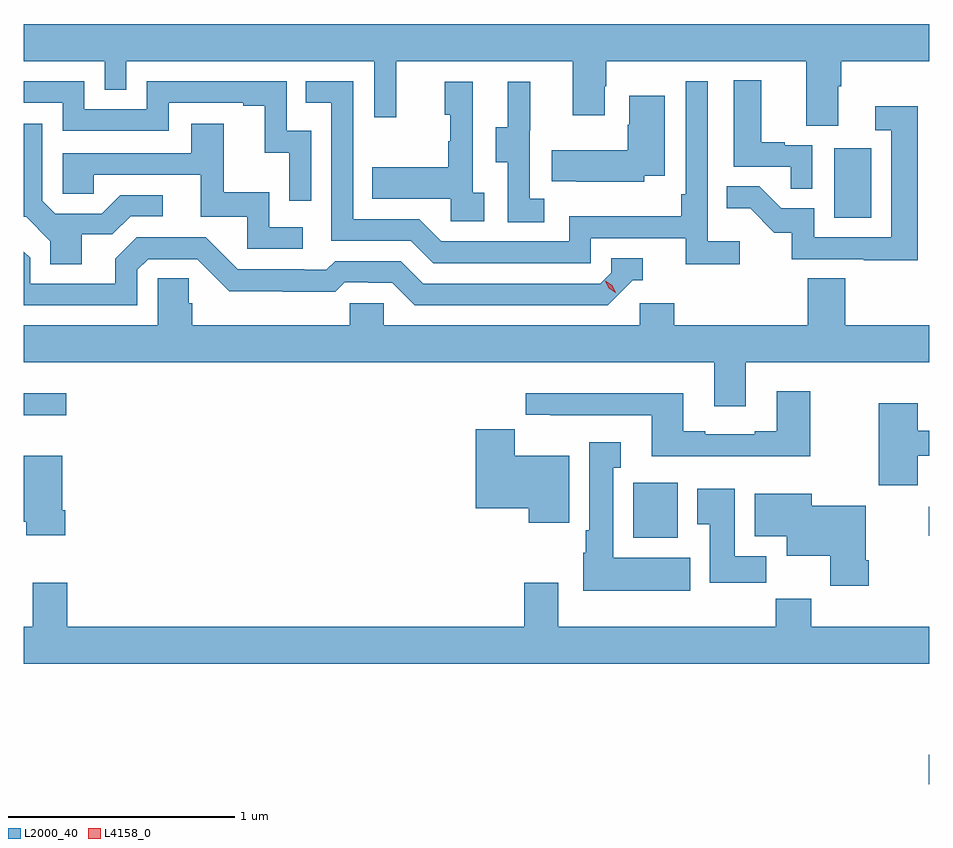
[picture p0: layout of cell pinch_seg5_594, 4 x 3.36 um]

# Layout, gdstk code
import gdstk
lib = gdstk.Library(unit=1e-6, precision=1e-09)
def R(c, l, rs):  # rectangles x0, y0, x1, y1
    for r in rs: c.add(gdstk.rectangle(r[:2], r[2:], *l))
def P(c, l, *ps):  # polygons
    for p in ps: c.add(gdstk.Polygon(p, *l))
L2000_40 = (2000, 40)
L4158_0 = (4158, 0)

pinch_seg5_594 = lib.new_cell('pinch_seg5_594')
R(pinch_seg5_594, L2000_40, [(1108.392,856.229,1108.393,856.359), (1107.086,857.318,1107.283,857.56), (1108.392,857.326,1108.393,857.455), (1104.393,857.859,1104.58,857.956), (1107.974,858.732,1108.138,859.039)])
P(pinch_seg5_594, L2000_40, [(1107.991,859.312),(1108.004,859.312),(1108.004,859.424),(1108.393,859.424),(1108.393,859.588),(1104.393,859.588),(1104.393,859.424),(1104.75,859.424),(1104.75,859.297),(1104.846,859.297),(1104.846,859.424),(1105.941,859.424),(1105.941,859.176),(1106.039,859.176),(1106.039,859.424),(1106.819,859.424),(1106.819,859.185),(1106.959,859.185),(1106.959,859.313),(1106.967,859.313),(1106.967,859.424),(1107.851,859.424),(1107.851,859.138),(1107.991,859.138)],
  [(1107.876,859.053),(1107.755,859.053),(1107.755,859.066),(1107.652,859.066),(1107.652,859.339),(1107.53,859.339),(1107.53,858.957),(1107.781,858.957),(1107.781,858.859),(1107.876,858.859)],
  [(1107.556,858.628),(1107.414,858.628),(1107.414,859.336),(1107.318,859.336),(1107.318,858.835),(1107.298,858.835),(1107.298,858.739),(1106.802,858.739),(1106.802,858.627),(1106.238,858.627),(1106.139,858.726),(1105.848,858.726),(1105.848,859.335),(1105.639,859.335),(1105.639,859.239),(1105.752,859.239),(1105.752,858.63),(1106.102,858.63),(1106.201,858.531),(1106.898,858.531),(1106.898,858.642),(1107.317,858.642),(1107.317,858.526),(1107.556,858.526)],
  [(1105.662,859.116),(1105.554,859.116),(1105.554,859.335),(1104.936,859.335),(1104.936,859.212),(1104.66,859.212),(1104.66,859.335),(1104.393,859.335),(1104.393,859.239),(1104.564,859.239),(1104.564,859.116),(1105.032,859.116),(1105.032,859.239),(1105.361,859.239),(1105.361,859.227),(1105.457,859.227),(1105.457,859.019),(1105.566,859.019),(1105.566,858.807),(1105.662,858.807)],
  [(1106.428,858.842),(1106.376,858.842),(1106.376,859.333),(1106.252,859.333),(1106.252,859.188),(1106.278,859.188),(1106.278,859.07),(1106.268,859.07),(1106.268,858.955),(1105.933,858.955),(1105.933,858.815),(1106.28,858.815),(1106.28,858.717),(1106.428,858.717)],
  [(1106.692,858.815),(1106.628,858.815),(1106.628,859.119),(1106.63,859.119),(1106.63,859.333),(1106.531,859.333),(1106.531,859.131),(1106.477,859.131),(1106.477,858.976),(1106.532,858.976),(1106.532,858.712),(1106.692,858.712)],
  [(1107.135,858.917),(1107.226,858.917),(1107.226,859.27),(1107.068,859.27),(1107.068,859.142),(1107.061,859.142),(1107.061,859.03),(1106.725,859.03),(1106.725,858.893),(1106.833,858.893),(1106.833,858.89),(1107.135,858.89)],
  [(1108.343,859.225),(1108.155,859.225),(1108.155,859.119),(1108.227,859.119),(1108.227,858.645),(1107.885,858.645),(1107.885,858.774),(1107.74,858.774),(1107.642,858.872),(1107.499,858.872),(1107.499,858.773),(1107.603,858.773),(1107.71,858.666),(1107.787,858.666),(1107.787,858.549),(1108.105,858.549),(1108.105,858.544),(1108.343,858.544)],
  [(1105.624,858.69),(1105.476,858.69),(1105.476,858.844),(1105.277,858.844),(1105.277,859.147),(1105.133,859.147),(1105.133,859.017),(1104.564,859.017),(1104.564,858.837),(1104.701,858.837),(1104.701,858.921),(1105.175,858.921),(1105.175,858.735),(1105.38,858.735),(1105.38,858.594),(1105.624,858.594)],
  [(1104.649,858.658),(1104.784,858.658),(1104.864,858.738),(1105.006,858.738),(1105.006,858.831),(1104.818,858.831),(1104.737,858.75),(1104.531,858.75),(1104.474,858.807),(1104.474,859.147),(1104.393,859.147),(1104.393,858.735),(1104.402,858.735),(1104.509,858.628),(1104.509,858.526),(1104.649,858.526)],
  [(1104.894,858.501),(1104.942,858.549),(1105.158,858.549),(1105.3,858.407),(1105.536,858.407),(1105.536,858.405),(1105.769,858.405),(1105.811,858.447),(1105.914,858.447),(1105.914,858.444),(1106.021,858.444),(1106.12,858.345),(1106.973,858.345),(1107.084,858.456),(1107.127,858.456),(1107.127,858.552),(1106.988,858.552),(1106.988,858.489),(1106.94,858.441),(1106.157,858.441),(1106.058,858.54),(1105.769,858.54),(1105.73,858.501),(1105.631,858.501),(1105.631,858.504),(1105.338,858.504),(1105.197,858.645),(1104.891,858.645),(1104.797,858.551),(1104.797,858.441),(1104.42,858.441),(1104.42,858.555),(1104.393,858.582),(1104.393,858.345),(1104.894,858.345)],
  [(1107.583,858.092),(1108.393,858.092),(1108.393,858.256),(1108.022,858.256),(1108.022,858.464),(1107.857,858.464),(1107.857,858.256),(1107.266,858.256),(1107.266,858.354),(1107.114,858.354),(1107.114,858.256),(1105.983,858.256),(1105.983,858.354),(1105.833,858.354),(1105.833,858.256),(1105.136,858.256),(1105.136,858.354),(1105.121,858.354),(1105.121,858.464),(1104.984,858.464),(1104.984,858.256),(1104.393,858.256),(1104.393,858.092),(1107.443,858.092),(1107.443,857.898),(1107.583,857.898)],
  [(1107.867,857.965),(1107.719,857.965),(1107.719,857.788),(1107.623,857.788),(1107.623,857.775),(1107.403,857.775),(1107.403,857.788),(1107.307,857.788),(1107.307,857.956),(1106.61,857.956),(1106.61,857.861),(1106.719,857.861),(1106.719,857.859),(1107.167,857.859),(1107.167,857.678),(1107.867,857.678)],
  [(1108.344,857.68),(1108.393,857.68),(1108.393,857.791),(1108.344,857.791),(1108.344,857.911),(1108.171,857.911),(1108.171,857.55),(1108.344,857.55)],
  [(1106.803,857.68),(1106.563,857.68),(1106.563,857.796),(1106.39,857.796),(1106.39,857.447),(1106.624,857.447),(1106.624,857.384),(1106.803,857.384)],
  [(1107.337,857.23),(1106.998,857.23),(1106.998,857.627),(1107.031,857.627),(1107.031,857.74),(1106.891,857.74),(1106.891,857.35),(1106.876,857.35),(1106.876,857.25),(1106.864,857.25),(1106.864,857.084),(1107.337,857.084)],
  [(1104.575,857.44),(1104.562,857.44),(1104.562,857.68),(1104.393,857.68),(1104.393,857.388),(1104.404,857.388),(1104.404,857.328),(1104.575,857.328)],
  [(1107.674,857.236),(1107.535,857.236),(1107.535,857.533),(1107.368,857.533),(1107.368,857.377),(1107.425,857.377),(1107.425,857.118),(1107.674,857.118)],
  [(1108.127,857.218),(1108.114,857.218),(1108.114,857.458),(1107.874,857.458),(1107.874,857.512),(1107.623,857.512),(1107.623,857.324),(1107.764,857.324),(1107.764,857.237),(1107.956,857.237),(1107.956,857.106),(1108.127,857.106)],
  [(1108.393,856.924),(1107.872,856.924),(1107.872,857.048),(1107.715,857.048),(1107.715,856.924),(1106.755,856.924),(1106.755,857.119),(1106.603,857.119),(1106.603,856.924),(1104.584,856.924),(1104.584,857.119),(1104.431,857.119),(1104.431,856.924),(1104.393,856.924),(1104.393,856.76),(1108.393,856.76)])
P(pinch_seg5_594, L4158_0, [(1107.009,858.4),(1106.978,858.421),(1106.962,858.454),(1106.962,858.454),(1106.963,858.454),(1106.993,858.434),(1107.009,858.401),(1107.009,858.4)])

lib.write_gds('pinch_seg5_594.gds')
